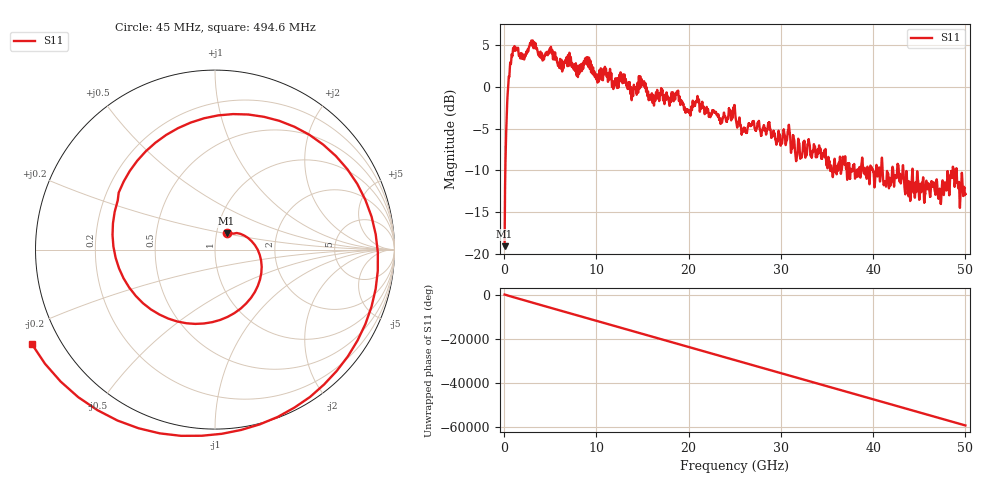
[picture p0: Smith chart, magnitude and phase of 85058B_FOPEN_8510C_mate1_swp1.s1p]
!Created with skrf (http://scikit-rf.org).
# Hz S RI R 50.0
!freq ReS11 ImS11
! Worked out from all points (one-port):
!   10001 points, 45 MHz to 50 GHz, reference 50 ohm
!   lowest |S11| = -19.1 dB at 45 MHz (marker M1), VSWR 1.25, Z = 55.9 + j10.2 ohm
!   |S11| at or under -10 dB: 41.01 GHz to 42.06 GHz (1.043 GHz wide, 2.51 % of centre); 43.28 GHz to 44.24 GHz (962.1 MHz wide, 2.2 % of centre); 44.28 GHz to 48.61 GHz (4.327 GHz wide, 9.32 % of centre) (the widest 3 of 29)
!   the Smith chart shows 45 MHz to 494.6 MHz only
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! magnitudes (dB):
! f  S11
! 45 MHz  -19.1
! 319.8 MHz  -2.1
! 439.6 MHz  0.1
! 1.019 GHz  4.4
! 2.098 GHz  3.5
! 3.032 GHz  5.0
! 6.289 GHz  1.8
! 8.982 GHz  2.7
! 10.05 GHz  1.4
! 12.53 GHz  0.7
! 13.88 GHz  -0.3
! 14.96 GHz  0.3
! 16.03 GHz  -1.0
! 18.78 GHz  -0.9
! 19.99 GHz  -2.8
! 20.91 GHz  -1.5
! 23.5 GHz  -4.2
! 25.02 GHz  -2.8
! 25.94 GHz  -5.0
! 28.67 GHz  -4.3
! 31.27 GHz  -6.9
! 37.51 GHz  -10.8
! 41.28 GHz  -11.4
! 42.7 GHz  -9.3
! 43.76 GHz  -11.5
! 47.21 GHz  -12.2
! 48.57 GHz  -10.8
! 50 GHz  -12.8
